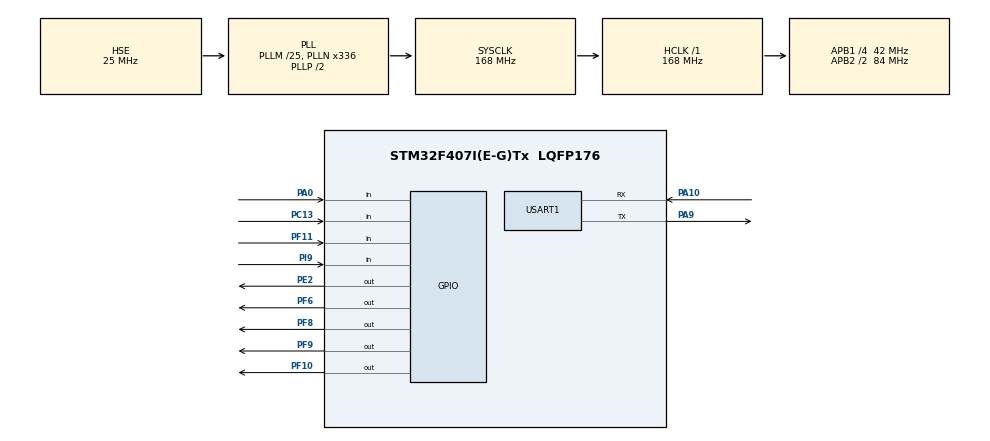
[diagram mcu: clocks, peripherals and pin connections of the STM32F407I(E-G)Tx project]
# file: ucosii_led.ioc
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Mcu.Family=STM32F4
Mcu.Name=STM32F407I(E-G)Tx
Mcu.Package=LQFP176
NVIC.PriorityGroup=NVIC_PRIORITYGROUP_4
NVIC.USART1_IRQn=true\:0\:0\:false\:false\:true
PA0-WKUP.Signal=GPIO_Input
PA10.Mode=Asynchronous
PA10.Signal=USART1_RX
PA13.Mode=Serial_Wire
PA13.Signal=SYS_JTMS-SWDIO
PA14.Mode=Serial_Wire
PA14.Signal=SYS_JTCK-SWCLK
PA9.Mode=Asynchronous
PA9.Signal=USART1_TX
PC13-ANTI_TAMP.Signal=GPIO_Input
PE2.Signal=GPIO_Output
PF10.Signal=GPIO_Output
PF11.Signal=GPIO_Input
PF6.Signal=GPIO_Output
PF8.Signal=GPIO_Output
PF9.Signal=GPIO_Output
PH0-OSC_IN.Mode=HSE-External-Oscillator
PH0-OSC_IN.Signal=RCC_OSC_IN
PH1-OSC_OUT.Mode=HSE-External-Oscillator
PH1-OSC_OUT.Signal=RCC_OSC_OUT
PI9.Signal=GPIO_Input
ProjectManager.HeapSize=0x200
ProjectManager.StackSize=0x400
ProjectManager.TargetToolchain=MDK-ARM V5
RCC.48MHZClocksFreq_Value=84000000
RCC.AHBFreq_Value=168000000
RCC.APB1CLKDivider=RCC_HCLK_DIV4
RCC.APB1Freq_Value=42000000
RCC.APB1TimFreq_Value=84000000
RCC.APB2CLKDivider=RCC_HCLK_DIV2
RCC.APB2Freq_Value=84000000
RCC.APB2TimFreq_Value=168000000
RCC.CortexFreq_Value=168000000
RCC.HCLKFreq_Value=168000000
RCC.HSE_VALUE=25000000
RCC.HSI_VALUE=16000000
RCC.LSE_VALUE=32768
RCC.PLLM=25
RCC.PLLN=336
RCC.PLLSourceVirtual=RCC_PLLSOURCE_HSE
RCC.SYSCLKFreq_VALUE=168000000
RCC.SYSCLKSource=RCC_SYSCLKSOURCE_PLLCLK
RCC.VCOOutputFreq_Value=336000000
USART1.VirtualMode=VM_ASYNC
board=ucosii_led

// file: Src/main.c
/**
  ******************************************************************************
  * File Name          : main.c
  * Description        : Main program body
  ******************************************************************************
  *
  * COPYRIGHT(c) 2020 STMicroelectronics
  *
  * Redistribution and use in source and binary forms, with or without modification,
  * are permitted provided that the following conditions are met:
  *   1. Redistributions of source code must retain the above copyright notice,
  *      this list of conditions and the following disclaimer.
  *   2. Redistributions in binary form must reproduce the above copyright notice,
  *      this list of conditions and the following disclaimer in the documentation
  *      and/or other materials provided with the distribution.
  *   3. Neither the name of STMicroelectronics nor the names of its contributors
  *      may be used to endorse or promote products derived from this software
  *      without specific prior written permission.
  *
  * THIS SOFTWARE IS PROVIDED BY THE COPYRIGHT HOLDERS AND CONTRIBUTORS "AS IS"
  * AND ANY EXPRESS OR IMPLIED WARRANTIES, INCLUDING, BUT NOT LIMITED TO, THE
  * IMPLIED WARRANTIES OF MERCHANTABILITY AND FITNESS FOR A PARTICULAR PURPOSE ARE
  * DISCLAIMED. IN NO EVENT SHALL THE COPYRIGHT HOLDER OR CONTRIBUTORS BE LIABLE
  * FOR ANY DIRECT, INDIRECT, INCIDENTAL, SPECIAL, EXEMPLARY, OR CONSEQUENTIAL
  * DAMAGES (INCLUDING, BUT NOT LIMITED TO, PROCUREMENT OF SUBSTITUTE GOODS OR
  * SERVICES; LOSS OF USE, DATA, OR PROFITS; OR BUSINESS INTERRUPTION) HOWEVER
  * CAUSED AND ON ANY THEORY OF LIABILITY, WHETHER IN CONTRACT, STRICT LIABILITY,
  * OR TORT (INCLUDING NEGLIGENCE OR OTHERWISE) ARISING IN ANY WAY OUT OF THE USE
  * OF THIS SOFTWARE, EVEN IF ADVISED OF THE POSSIBILITY OF SUCH DAMAGE.
  *
  ******************************************************************************
  */
#include "main.h"
#include "stm32f4xx_hal.h"
#include "usart.h"
#include "gpio.h"

/* USER CODE BEGIN Includes */
#include  "ucos_ii.h"
//#include 	"usart_it.h"
#include	"uCOSII_Demo.h"
/* USER CODE END Includes */

/* USER CODE BEGIN PV */
/* Private variables ---------------------------------------------------------*/
//#define USE_TSK_START

#ifdef USE_TSK_START
#define  APP_TASK_START_PRIO               4
#define  APP_TASK_START_STK_SIZE           64
static  OS_STK App_TaskStartStk[APP_TASK_START_STK_SIZE];
static  void App_TaskStart (void* p_arg);
#endif //USE_TSK_START

//void OS_CPU_SysTickInit (void);
/* USER CODE END PV */

void SystemClock_Config(void);
void Error_Handler(void);

/* USER CODE BEGIN PFP */
/* Private function prototypes -----------------------------------------------*/

/* USER CODE END PFP */

int main(void)
{

  /* USER CODE BEGIN 1 */
	//系统初始化， 用于创建任务
	OSInit();
  /* USER CODE END 1 */

  /* MCU Configuration----------------------------------------------------------*/

  /* Reset of all peripherals, Initializes the Flash interface and the Systick.
	重置所有外围设备， 初始化flash接口和Systick
	tick 系统kernel计时单位  用于处理定时，延时等事件，
	HAL 硬件抽象层， */
  HAL_Init();

  /* Configure the system clock
	配置系统时钟*/
  SystemClock_Config();

  /* Initialize all configured peripherals
	初始化所有外围设备  引脚初始�
	GPIO 通用型输入输出*/
  MX_GPIO_Init();
  MX_USART1_UART_Init();

  /* USER CODE BEGIN 2 */

	HAL_NVIC_DisableIRQ(USART1_IRQn);
	// Disable the UART Error Interrupt: (Frame error, noise error, overrun error) */
//	CLEAR_BIT(huart1.Instance->CR3, USART_CR3_EIE);
	// Disable the UART Parity Error/Data Register not empty/Tx data empty Interrupts */
//	CLEAR_BIT(huart1.Instance->CR1, USART_CR1_PEIE | USART_CR1_RXNEIE | USART_CR1_TXEIE);

#ifdef USE_TSK_START
	OSTaskCreate ((void (*) (void *)) App_TaskStart,	  		  		//指向任务代码的指针
								(void *) 0,								  		//任务开始执行时，传递给任务的参数的指针
								(OS_STK *) &App_TaskStartStk[APP_TASK_START_STK_SIZE - 1],	//分配给任务的堆栈的栈顶指针   从顶向下递减
								(INT8U) APP_TASK_START_PRIO);
#else

	/*初始化ucos时钟节拍*/
//	OS_CPU_SysTickInit();                                       \
	/*使能ucos 的统计任务*/
#if (OS_TASK_STAT_EN > 0)
	/* 统计初始化 */
	OSStatInit();
#endif

//	HAL_UART_Transmit(&huart1, (uint8_t*)"start\n", 6, 100);
//	HAL_UART_Transmit(&huart1, (uint8_t*)"\n====init app====\n", 18, 100);
//	USER_USART1_print("\n====init app====\n");

	//Initial Demo Code
	User_App_Initial();
#endif //USE_TSK_START

	OSStart();

  /* USER CODE END 2 */

  /* Infinite loop */
  while (1)
  {

  }

}

/** System Clock Configuration
*/
void SystemClock_Config(void)
{

  RCC_OscInitTypeDef RCC_OscInitStruct;
  RCC_ClkInitTypeDef RCC_ClkInitStruct;

    /**Configure the main internal regulator output voltage
    */
  __HAL_RCC_PWR_CLK_ENABLE();

  __HAL_PWR_VOLTAGESCALING_CONFIG(PWR_REGULATOR_VOLTAGE_SCALE1);

    /**Initializes the CPU, AHB and APB busses clocks
    */
  RCC_OscInitStruct.OscillatorType = RCC_OSCILLATORTYPE_HSE;
  RCC_OscInitStruct.HSEState = RCC_HSE_ON;
  RCC_OscInitStruct.PLL.PLLState = RCC_PLL_ON;
  RCC_OscInitStruct.PLL.PLLSource = RCC_PLLSOURCE_HSE;
  RCC_OscInitStruct.PLL.PLLM = 25;
  RCC_OscInitStruct.PLL.PLLN = 336;
  RCC_OscInitStruct.PLL.PLLP = RCC_PLLP_DIV2;
  RCC_OscInitStruct.PLL.PLLQ = 4;
  if (HAL_RCC_OscConfig(&RCC_OscInitStruct) != HAL_OK)
  {
    Error_Handler();
  }

    /**Initializes the CPU, AHB and APB busses clocks
    */
  RCC_ClkInitStruct.ClockType = RCC_CLOCKTYPE_HCLK|RCC_CLOCKTYPE_SYSCLK
                              |RCC_CLOCKTYPE_PCLK1|RCC_CLOCKTYPE_PCLK2;
  RCC_ClkInitStruct.SYSCLKSource = RCC_SYSCLKSOURCE_PLLCLK;
  RCC_ClkInitStruct.AHBCLKDivider = RCC_SYSCLK_DIV1;
  RCC_ClkInitStruct.APB1CLKDivider = RCC_HCLK_DIV4;
  RCC_ClkInitStruct.APB2CLKDivider = RCC_HCLK_DIV2;

  if (HAL_RCC_ClockConfig(&RCC_ClkInitStruct, FLASH_LATENCY_5) != HAL_OK)
  {
    Error_Handler();
  }

    /**Configure the Systick interrupt time
    */
  HAL_SYSTICK_Config(HAL_RCC_GetHCLKFreq()/1000);

    /**Configure the Systick
    */
  HAL_SYSTICK_CLKSourceConfig(SYSTICK_CLKSOURCE_HCLK);

  /* SysTick_IRQn interrupt configuration */
  HAL_NVIC_SetPriority(SysTick_IRQn, 0, 0);
}

void Error_Handler(void)
{
  while(1)
  {
  }
}

/************************ (C) COPYRIGHT STMicroelectronics *****END OF FILE****/
